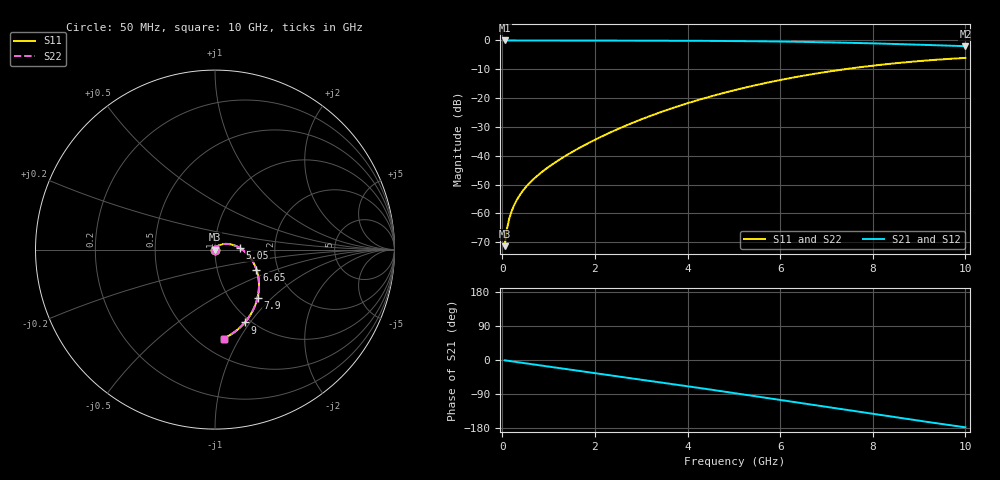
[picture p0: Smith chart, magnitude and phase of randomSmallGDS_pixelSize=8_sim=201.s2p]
! freq	dB(S11)	phase(S11)	dB(S12)	phase(S12)
!  dB(S21)	phase(S21)	dB(S22)	phase(S22)
!S-par simulation data
#  GHz  S  DB  R 50
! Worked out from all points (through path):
!   200 points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, 50 MHz to 10 GHz, reference 50 ohm
!   highest |S21| = 0.00 dB at 50 MHz (marker M1); lowest = -2.0 dB at 10 GHz (marker M2)
!   group delay of S21, straight-line fit = 49.7 ps
!   lowest |S11| = -71.4 dB at 50 MHz (marker M3), VSWR 1.00, Z = 50 + j0.0267 ohm
!   |S11| at or under -10 dB: start of sweep to 7.389 GHz
!   |S22| runs from -71.4 to -6.1 dB; largest |S21 - S12| = 0
!   S11 on the Smith chart (normalised r, x): 50 MHz: 1.00, +0.00; 5.05 GHz: 1.32, +0.02; 6.65 GHz: 1.55, -0.37; 7.9 GHz: 1.34, -0.82; 9 GHz: 0.94, -0.94; 10 GHz: 0.65, -0.86
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0.05  -71.40 82.0  -0.00 -0.9  -0.00 -0.9  -71.40 82.0
0.1  -65.42 84.9  -0.00 -1.7  -0.00 -1.7  -65.42 84.9
0.15  -61.88 85.4  -0.00 -2.6  -0.00 -2.6  -61.88 85.4
0.2  -59.36 85.3  -0.00 -3.5  -0.00 -3.5  -59.36 85.3
0.3  -55.75 84.4  -0.00 -5.2  -0.00 -5.2  -55.75 84.4
0.45  -52.05 82.6  -0.01 -7.8  -0.01 -7.8  -52.05 82.6
0.65  -48.50 79.9  -0.01 -11.2  -0.01 -11.2  -48.50 79.9
0.95  -44.49 75.4  -0.02 -16.3  -0.02 -16.3  -44.49 75.5
1.3  -40.70 70.0  -0.03 -22.3  -0.03 -22.3  -40.70 70.0
1.75  -36.55 62.5  -0.03 -30.0  -0.03 -30.0  -36.55 62.5
2.55  -30.37 48.5  -0.05 -43.8  -0.05 -43.8  -30.37 48.6
3.4  -25.00 33.3  -0.08 -58.6  -0.08 -58.6  -25.00 33.3
4.25  -20.58 18.0  -0.13 -73.7  -0.13 -73.7  -20.58 18.0
5.05  -17.12 3.5  -0.21 -88.1  -0.21 -88.1  -17.12 3.5
5.85  -14.22 -11.1  -0.34 -102.7  -0.34 -102.7  -14.22 -11.1
6.65  -11.82 -25.7  -0.53 -117.4  -0.53 -117.4  -11.82 -25.7
6.7  -11.68 -26.6  -0.55 -118.3  -0.55 -118.3  -11.68 -26.6
7.3  -10.20 -37.6  -0.74 -129.4  -0.74 -129.4  -10.20 -37.5
7.9  -8.94 -48.4  -0.97 -140.4  -0.97 -140.4  -8.94 -48.4
8.35  -8.14 -56.4  -1.16 -148.6  -1.16 -148.6  -8.14 -56.4
9  -7.16 -67.7  -1.47 -160.2  -1.47 -160.2  -7.16 -67.7
10  -6.06 -84.5  -1.99 -177.7  -1.99 -177.7  -6.06 -84.5
